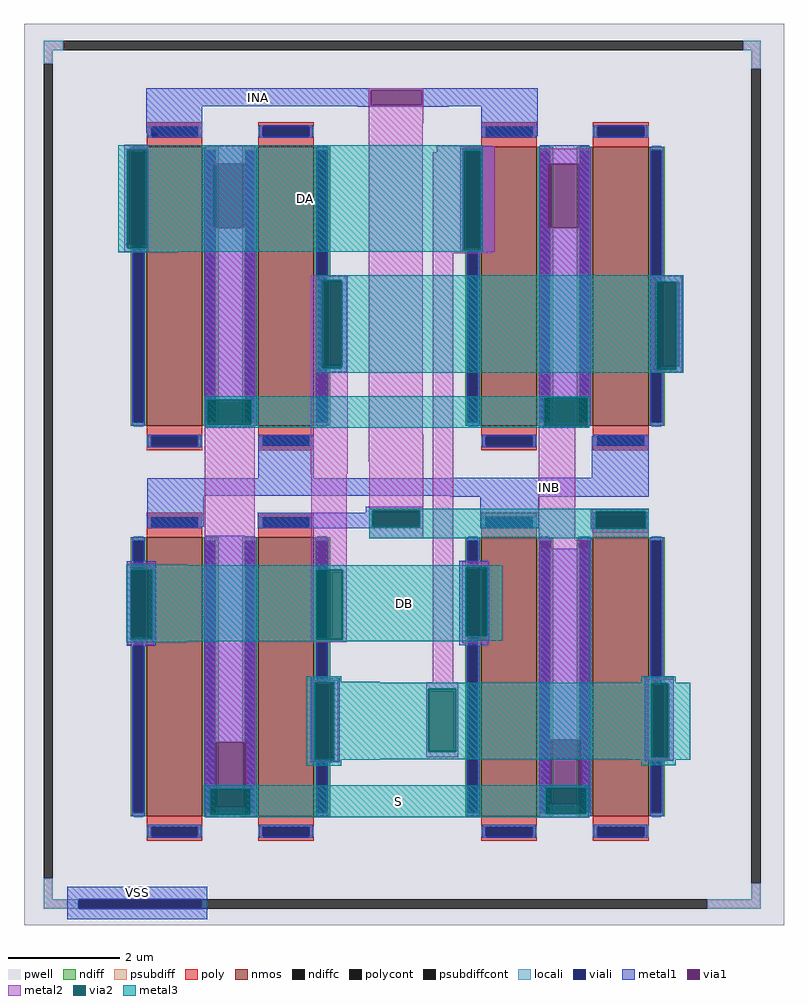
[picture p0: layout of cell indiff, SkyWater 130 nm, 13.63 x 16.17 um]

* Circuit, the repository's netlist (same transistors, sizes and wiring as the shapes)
** sch_path: /home/dmatkin/tt07-dual-oscillator/xschem/indiff.sch
.subckt indiff DB DA INA INB S VSS
*.PININFO INA:I INB:I DA:B DB:B S:B VSS:B
XM1 DA INA S VSS sky130_fd_pr__nfet_01v8 L=1 W=5 nf=1 ad='int((nf+1)/2) * W/nf * 0.29' as='int((nf+2)/2) * W/nf * 0.29' pd='2*int((nf+1)/2) * (W/nf + 0.29)'
+ ps='2*int((nf+2)/2) * (W/nf + 0.29)' nrd='0.29 / W' nrs='0.29 / W' sa=0 sb=0 sd=0 mult=4 m=4
XM2 DB INB S VSS sky130_fd_pr__nfet_01v8 L=1 W=5 nf=1 ad='int((nf+1)/2) * W/nf * 0.29' as='int((nf+2)/2) * W/nf * 0.29' pd='2*int((nf+1)/2) * (W/nf + 0.29)'
+ ps='2*int((nf+2)/2) * (W/nf + 0.29)' nrd='0.29 / W' nrs='0.29 / W' sa=0 sb=0 sd=0 mult=4 m=4
.ends
.end

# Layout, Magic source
magic
tech sky130A
<< pwell >>
rect -191 -152 1172 1465
<< psubdiff >>
rect -156 1417 -121 1434
rect 1099 1417 1130 1434
rect -156 1393 -139 1417
rect -156 -105 -139 -68
rect 1113 1384 1130 1417
rect 1113 -105 1130 -77
rect -156 -122 -94 -105
rect 1034 -122 1130 -105
<< psubdiffcont >>
rect -121 1417 1099 1434
rect -156 -68 -139 1393
rect 1113 -77 1130 1384
rect -94 -122 1034 -105
<< locali >>
rect -156 1417 -121 1434
rect 1099 1417 1130 1434
rect -156 1393 -139 1417
rect -156 -105 -139 -68
rect 1113 1384 1130 1417
rect 1113 -105 1130 -77
rect -156 -122 -94 -105
rect 1034 -122 1130 -105
<< viali >>
rect -93 -122 128 -105
<< metal1 >>
rect 29 1348 730 1349
rect 28 1346 730 1348
rect 28 1319 431 1346
rect 522 1319 730 1346
rect 28 1317 730 1319
rect 28 1269 129 1317
rect 408 1316 571 1317
rect 48 1262 129 1269
rect 629 1263 730 1317
rect -11 1069 -1 1241
rect 27 1069 31 1241
rect 134 1214 223 1246
rect 134 1099 147 1214
rect 203 1099 223 1214
rect 134 741 223 1099
rect 591 1242 653 1245
rect 591 1059 596 1242
rect 629 1059 653 1242
rect 591 1056 653 1059
rect 734 1214 823 1247
rect 734 1099 748 1214
rect 804 1099 823 1214
rect 335 1004 388 1013
rect 335 852 346 1004
rect 380 852 388 1004
rect 335 840 388 852
rect 734 742 823 1099
rect 936 1001 989 1013
rect 936 851 939 1001
rect 984 851 989 1001
rect 936 840 989 851
rect 229 650 329 724
rect 827 651 929 725
rect 574 650 929 651
rect 31 649 929 650
rect 30 618 929 649
rect 30 563 131 618
rect 574 617 929 618
rect 422 590 525 599
rect 422 588 435 590
rect 228 563 435 588
rect 519 563 525 590
rect 33 561 129 563
rect 228 560 525 563
rect 627 560 732 617
rect 825 588 929 594
rect 825 562 837 588
rect 921 562 929 588
rect 825 559 929 562
rect 135 546 205 547
rect -7 492 45 501
rect -7 359 0 492
rect 31 359 45 492
rect -7 349 45 359
rect 135 176 224 546
rect 590 492 642 502
rect 590 359 605 492
rect 636 359 642 492
rect 590 350 642 359
rect 135 61 152 176
rect 208 61 224 176
rect 323 282 375 292
rect 323 149 333 282
rect 364 149 375 282
rect 323 140 375 149
rect 734 181 823 523
rect 135 42 224 61
rect 734 66 753 181
rect 809 66 823 181
rect 922 281 974 295
rect 922 148 934 281
rect 965 148 974 281
rect 922 143 974 148
rect 734 41 823 66
rect -113 -105 138 -83
rect -113 -122 -93 -105
rect 128 -122 138 -105
rect -113 -141 138 -122
<< via1 >>
rect 431 1319 522 1346
rect -1 1069 27 1241
rect 147 1099 203 1214
rect 596 1059 629 1242
rect 748 1099 804 1214
rect 346 852 380 1004
rect 939 851 984 1001
rect 435 563 519 590
rect 837 562 921 588
rect 0 359 31 492
rect 605 359 636 492
rect 152 61 208 176
rect 333 149 364 282
rect 753 66 809 181
rect 934 148 965 281
<< metal2 >>
rect 427 1346 525 1349
rect 427 1319 431 1346
rect 522 1319 525 1346
rect 427 1286 525 1319
rect -11 1241 32 1248
rect -11 1238 -1 1241
rect 27 1238 32 1241
rect -11 1062 -6 1238
rect 29 1062 32 1238
rect -11 1056 32 1062
rect 134 1214 223 1246
rect 134 1099 147 1214
rect 203 1099 223 1214
rect 134 802 223 1099
rect 133 791 223 802
rect 133 746 138 791
rect 217 746 223 791
rect -6 492 42 497
rect -6 359 0 492
rect 31 486 42 492
rect 39 362 42 486
rect 133 404 223 746
rect 323 1005 390 1013
rect 323 847 344 1005
rect 379 1004 390 1005
rect 380 852 390 1004
rect 379 847 390 852
rect 323 658 390 847
rect 427 729 524 1286
rect 549 1245 649 1246
rect 549 1242 653 1245
rect 549 1234 596 1242
rect 542 1059 596 1234
rect 629 1059 653 1242
rect 542 1056 653 1059
rect 735 1214 825 1241
rect 735 1099 748 1214
rect 804 1099 825 1214
rect 542 1053 649 1056
rect 427 679 525 729
rect 31 359 42 362
rect -6 351 42 359
rect 134 176 223 404
rect 324 486 388 658
rect 428 592 525 679
rect 428 563 434 592
rect 519 563 525 592
rect 428 542 525 563
rect 324 360 333 486
rect 381 360 388 486
rect 324 356 388 360
rect 134 93 152 176
rect 208 93 223 176
rect 325 284 373 288
rect 542 284 579 1053
rect 735 876 825 1099
rect 732 794 825 876
rect 935 1002 990 1013
rect 935 1001 944 1002
rect 979 1001 990 1002
rect 935 851 939 1001
rect 984 851 990 1001
rect 935 844 944 851
rect 979 844 990 851
rect 935 840 990 844
rect 732 744 742 794
rect 820 744 825 794
rect 732 743 825 744
rect 732 539 798 743
rect 828 591 929 595
rect 828 559 834 591
rect 924 559 929 591
rect 828 552 929 559
rect 595 492 643 500
rect 595 490 605 492
rect 636 490 643 492
rect 595 366 601 490
rect 640 366 643 490
rect 595 359 605 366
rect 636 359 643 366
rect 595 354 643 359
rect 325 145 330 284
rect 365 145 373 284
rect 530 272 588 284
rect 530 159 534 272
rect 584 159 588 272
rect 530 149 588 159
rect 732 181 822 539
rect 325 142 373 145
rect 134 46 143 93
rect 215 46 223 93
rect 134 42 223 46
rect 732 95 753 181
rect 809 95 822 181
rect 926 282 974 290
rect 926 148 934 282
rect 964 281 974 282
rect 965 148 974 281
rect 926 144 974 148
rect 732 48 745 95
rect 817 48 822 95
rect 732 41 822 48
<< via2 >>
rect -6 1069 -1 1238
rect -1 1069 27 1238
rect 27 1069 29 1238
rect -6 1062 29 1069
rect 138 746 217 791
rect 0 362 31 486
rect 31 362 39 486
rect 344 1004 379 1005
rect 344 852 346 1004
rect 346 852 379 1004
rect 344 847 379 852
rect 598 1060 628 1237
rect 434 590 519 592
rect 434 563 435 590
rect 435 563 519 590
rect 333 360 381 486
rect 944 1001 979 1002
rect 944 851 979 1001
rect 944 844 979 851
rect 742 744 820 794
rect 834 588 924 591
rect 834 562 837 588
rect 837 562 921 588
rect 921 562 924 588
rect 834 559 924 562
rect 601 366 605 490
rect 605 366 636 490
rect 636 366 640 490
rect 330 282 365 284
rect 330 149 333 282
rect 333 149 364 282
rect 364 149 365 282
rect 330 145 365 149
rect 534 159 584 272
rect 143 61 152 93
rect 152 61 208 93
rect 208 61 215 93
rect 143 46 215 61
rect 934 281 964 282
rect 934 149 964 281
rect 745 66 753 95
rect 753 66 809 95
rect 809 66 817 95
rect 745 48 817 66
<< metal3 >>
rect -22 1238 632 1247
rect -22 1062 -6 1238
rect 29 1237 632 1238
rect 29 1062 598 1237
rect -22 1060 598 1062
rect 628 1060 632 1237
rect -22 1056 632 1060
rect -22 1055 86 1056
rect 335 1005 991 1014
rect 335 847 344 1005
rect 379 1002 991 1005
rect 379 847 944 1002
rect 335 844 944 847
rect 979 844 991 1002
rect 335 839 991 844
rect 134 794 823 797
rect 134 791 742 794
rect 134 746 138 791
rect 217 746 742 791
rect 134 744 742 746
rect 820 744 823 794
rect 134 740 823 744
rect 428 592 929 595
rect 428 563 434 592
rect 519 591 929 592
rect 519 563 834 591
rect 428 559 834 563
rect 924 559 929 591
rect 428 542 929 559
rect -8 494 101 495
rect -8 490 667 494
rect -8 486 601 490
rect -8 362 0 486
rect 39 362 333 486
rect -8 360 333 362
rect 381 366 601 486
rect 640 366 667 490
rect 381 360 667 366
rect -8 358 667 360
rect -8 357 626 358
rect -8 356 101 357
rect 316 285 378 295
rect 316 284 447 285
rect 316 145 330 284
rect 365 283 447 284
rect 916 283 978 294
rect 365 282 1004 283
rect 365 272 934 282
rect 365 159 534 272
rect 584 159 934 272
rect 365 149 934 159
rect 964 149 1004 282
rect 365 146 1004 149
rect 365 145 447 146
rect 894 145 1004 146
rect 316 134 378 145
rect 916 135 978 145
rect 133 95 822 99
rect 133 93 745 95
rect 133 46 143 93
rect 215 48 745 93
rect 817 48 822 95
rect 215 46 822 48
rect 133 42 822 46
use sky130_fd_pr__nfet_01v8_U654K6  sky130_fd_pr__nfet_01v8_U654K6_0
transform 1 0 879 0 1 994
box -79 -294 79 294
use sky130_fd_pr__nfet_01v8_U654K6  sky130_fd_pr__nfet_01v8_U654K6_1
transform 1 0 79 0 1 294
box -79 -294 79 294
use sky130_fd_pr__nfet_01v8_U654K6  sky130_fd_pr__nfet_01v8_U654K6_2
transform 1 0 279 0 1 294
box -79 -294 79 294
use sky130_fd_pr__nfet_01v8_U654K6  sky130_fd_pr__nfet_01v8_U654K6_3
transform 1 0 679 0 1 294
box -79 -294 79 294
use sky130_fd_pr__nfet_01v8_U654K6  sky130_fd_pr__nfet_01v8_U654K6_4
transform 1 0 879 0 1 294
box -79 -294 79 294
use sky130_fd_pr__nfet_01v8_U654K6  sky130_fd_pr__nfet_01v8_U654K6_5
transform 1 0 79 0 1 994
box -79 -294 79 294
use sky130_fd_pr__nfet_01v8_U654K6  sky130_fd_pr__nfet_01v8_U654K6_6
transform 1 0 279 0 1 994
box -79 -294 79 294
use sky130_fd_pr__nfet_01v8_U654K6  sky130_fd_pr__nfet_01v8_U654K6_7
transform 1 0 679 0 1 994
box -79 -294 79 294
<< labels >>
flabel metal1 -113 -105 138 -83 0 FreeSans 240 0 0 0 VSS
port 1 nsew
flabel metal3 215 42 745 99 0 FreeSans 240 0 0 0 S
port 2 nsew
flabel metal1 29 1317 431 1349 0 FreeSans 240 0 0 0 INA
port 3 nsew
flabel metal1 574 617 929 651 0 FreeSans 240 0 0 0 INB
port 4 nsew
flabel metal3 29 1056 598 1247 0 FreeSans 240 0 0 0 DA
port 5 nsew
flabel metal3 381 357 601 494 0 FreeSans 240 0 0 0 DB
port 6 nsew
<< end >>

# cell sky130_fd_pr__nfet_01v8_U654K6: kit device sky130_fd_pr__nfet_01v8, w 5 l 1 m 1 nf 1 diffcov 100 polycov 100 guard 0 glc 0 grc 0 gtc 0 gbc 0 tbcov 100 rlcov 100 topc 1 botc 1 poverlap 0 doverlap 1 lmin 0.15 wmin 0.42 compatible {sky130_fd_pr__nfet_01v8 sky130_fd_pr__nfet_01v8_lvt sky130_fd_bs_flash__special_sonosfet_star sky130_fd_pr__nfet_g5v0d10v5 sky130_fd_pr__nfet_05v0_nvt sky130_fd_pr__nfet_03v3_nvt} full_metal 0 viasrc 100 viadrn 100 viagate 100 viagb 0 viagr 0 viagl 0 viagt 0
